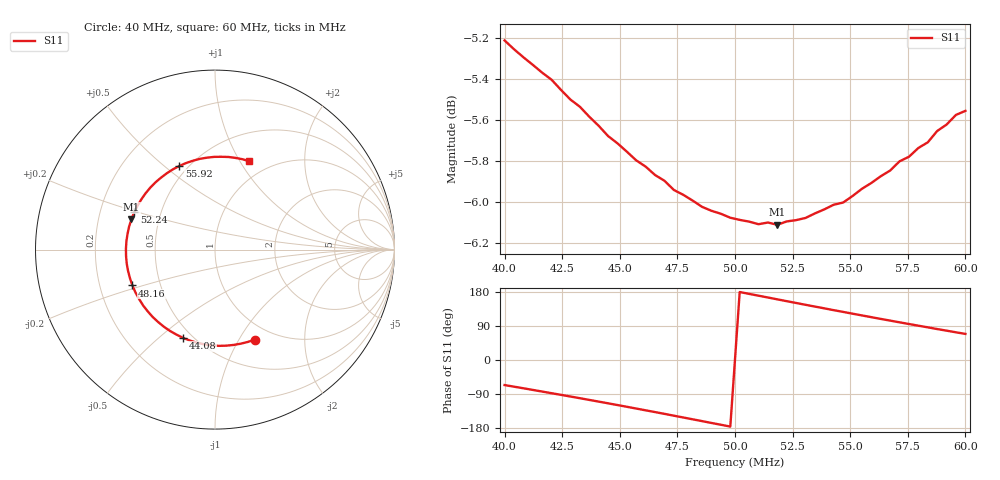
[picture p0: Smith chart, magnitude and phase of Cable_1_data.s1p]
# MHz S MA R 50
!  freq  S11
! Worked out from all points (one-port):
!   50 points, 40 MHz to 60 MHz, reference 50 ohm
!   lowest |S11| = -6.1 dB at 51.84 MHz (marker M1), VSWR 2.96, Z = 17.4 + j7.75 ohm
!   |S11| at or under -10 dB: nowhere
!   S11 on the Smith chart (normalised r, x): 40 MHz: 0.82, -1.17; 44.08 MHz: 0.45, -0.60; 48.16 MHz: 0.34, -0.18; 52.24 MHz: 0.35, +0.19; 55.92 MHz: 0.45, +0.56; 60 MHz: 0.80, +1.10
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40  0.5487 -66.2
40.81633  0.5435 -74.6
41.63265  0.5389 -83.3
42.04082  0.5367 -87.7
42.85714  0.5308 -96.4
43.26531  0.5287 -100.8
44.08163  0.5231 -109.8
45.30612  0.5156 -123.5
46.53061  0.5089 -137.4
46.93878  0.5072 -142.2
47.7551  0.5033 -151.7
48.16327  0.5016 -156.5
48.97959  0.4988 -166.2
49.38775  0.498 -170.9
50.20408  0.4963 179.4
51.02041  0.495 169.7
51.83673  0.4949 160.1
52.2449  0.4958 155.3
52.65306  0.4962 150.5
53.87755  0.4992 136.3
55.10204  0.5029 122.2
55.91837  0.5066 113.0
56.73469  0.5101 104.0
57.55102  0.5141 95.0
57.95918  0.5166 90.5
58.77551  0.5216 81.7
59.59184  0.5263 73.1
60  0.5275 68.8
